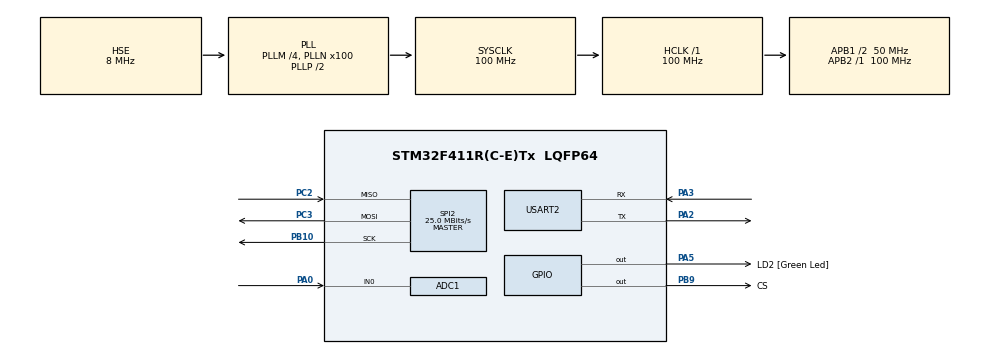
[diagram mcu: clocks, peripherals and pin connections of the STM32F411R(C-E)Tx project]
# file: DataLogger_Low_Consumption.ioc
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ADC1.Channel-0\#ChannelRegularConversion=ADC_CHANNEL_0
ADC1.NbrOfConversionFlag=1
ADC1.Rank-0\#ChannelRegularConversion=1
ADC1.SamplingTime-0\#ChannelRegularConversion=ADC_SAMPLETIME_3CYCLES
ADC1.master=1
Dma.Request0=USART2_TX
Dma.Request1=SPI2_RX
Dma.Request2=SPI2_TX
Dma.SPI2_RX.1.Direction=DMA_PERIPH_TO_MEMORY
Dma.SPI2_RX.1.FIFOMode=DMA_FIFOMODE_DISABLE
Dma.SPI2_RX.1.Instance=DMA1_Stream3
Dma.SPI2_RX.1.MemDataAlignment=DMA_MDATAALIGN_BYTE
Dma.SPI2_RX.1.MemInc=DMA_MINC_ENABLE
Dma.SPI2_RX.1.Mode=DMA_NORMAL
Dma.SPI2_RX.1.PeriphDataAlignment=DMA_PDATAALIGN_BYTE
Dma.SPI2_RX.1.PeriphInc=DMA_PINC_DISABLE
Dma.SPI2_RX.1.Priority=DMA_PRIORITY_LOW
Dma.SPI2_TX.2.Direction=DMA_MEMORY_TO_PERIPH
Dma.SPI2_TX.2.FIFOMode=DMA_FIFOMODE_DISABLE
Dma.SPI2_TX.2.Instance=DMA1_Stream4
Dma.SPI2_TX.2.MemDataAlignment=DMA_MDATAALIGN_BYTE
Dma.SPI2_TX.2.MemInc=DMA_MINC_ENABLE
Dma.SPI2_TX.2.Mode=DMA_NORMAL
Dma.SPI2_TX.2.PeriphDataAlignment=DMA_PDATAALIGN_BYTE
Dma.SPI2_TX.2.PeriphInc=DMA_PINC_DISABLE
Dma.SPI2_TX.2.Priority=DMA_PRIORITY_LOW
Dma.USART2_TX.0.Direction=DMA_MEMORY_TO_PERIPH
Dma.USART2_TX.0.FIFOMode=DMA_FIFOMODE_DISABLE
Dma.USART2_TX.0.Instance=DMA1_Stream6
Dma.USART2_TX.0.MemDataAlignment=DMA_MDATAALIGN_BYTE
Dma.USART2_TX.0.MemInc=DMA_MINC_ENABLE
Dma.USART2_TX.0.Mode=DMA_NORMAL
Dma.USART2_TX.0.PeriphDataAlignment=DMA_PDATAALIGN_BYTE
Dma.USART2_TX.0.PeriphInc=DMA_PINC_DISABLE
Dma.USART2_TX.0.Priority=DMA_PRIORITY_LOW
FATFS._USE_LABEL=1
FATFS._USE_LFN=3
Mcu.Family=STM32F4
Mcu.Name=STM32F411R(C-E)Tx
Mcu.Package=LQFP64
NVIC.DMA1_Stream3_IRQn=true\:0\:0\:false\:false\:true\:false\:true\:true
NVIC.DMA1_Stream4_IRQn=true\:0\:0\:false\:false\:true\:false\:true\:true
NVIC.DMA1_Stream6_IRQn=true\:0\:0\:false\:false\:true\:false\:true\:true
NVIC.PriorityGroup=NVIC_PRIORITYGROUP_0
NVIC.RTC_WKUP_IRQn=true\:0\:0\:false\:false\:true\:true\:true\:true
NVIC.USART2_IRQn=true\:0\:0\:false\:false\:true\:true\:true\:true
PA0-WKUP.Signal=ADCx_IN0
PA2.Mode=Asynchronous
PA2.Signal=USART2_TX
PA3.Mode=Asynchronous
PA3.Signal=USART2_RX
PA5.GPIO_Label=LD2 [Green Led]
PA5.Signal=GPIO_Output
PB10.Mode=Full_Duplex_Master
PB10.Signal=SPI2_SCK
PB9.GPIO_Label=CS
PB9.GPIO_Speed=GPIO_SPEED_FREQ_HIGH
PB9.PinState=GPIO_PIN_SET
PB9.Signal=GPIO_Output
PC15-OSC32_OUT.Signal=RCC_OSC32_OUT
PC2.Mode=Full_Duplex_Master
PC2.Signal=SPI2_MISO
PC3.Mode=Full_Duplex_Master
PC3.Signal=SPI2_MOSI
PH0\ -\ OSC_IN.Mode=HSE-External-Oscillator
PH0\ -\ OSC_IN.Signal=RCC_OSC_IN
PH1\ -\ OSC_OUT.Mode=HSE-External-Oscillator
PH1\ -\ OSC_OUT.Signal=RCC_OSC_OUT
ProjectManager.HeapSize=0x200
ProjectManager.StackSize=0x400
ProjectManager.TargetToolchain=STM32CubeIDE
RCC.48MHZClocksFreq_Value=50000000
RCC.AHBFreq_Value=100000000
RCC.APB1CLKDivider=RCC_HCLK_DIV2
RCC.APB1Freq_Value=50000000
RCC.APB1TimFreq_Value=100000000
RCC.APB2Freq_Value=100000000
RCC.APB2TimFreq_Value=100000000
RCC.CortexFreq_Value=100000000
RCC.FLatency-AdvancedSettings=FLASH_LATENCY_3
RCC.HCLKFreq_Value=100000000
RCC.HSE_VALUE=8000000
RCC.HSI_VALUE=16000000
RCC.LSE_VALUE=32768
RCC.PLLM=4
RCC.PLLN=100
RCC.PLLSourceVirtual=RCC_PLLSOURCE_HSE
RCC.SYSCLKFreq_VALUE=100000000
RCC.SYSCLKSource=RCC_SYSCLKSOURCE_PLLCLK
RCC.VCOOutputFreq_Value=200000000
SH.ADCx_IN0.0=ADC1_IN0,IN0
SPI2.CalculateBaudRate=25.0 MBits/s
SPI2.Direction=SPI_DIRECTION_2LINES
SPI2.Mode=SPI_MODE_MASTER
SPI2.VirtualType=VM_MASTER
USART2.VirtualMode=VM_ASYNC
VP_FATFS_VS_Generic.Mode=User_defined
VP_RTC_VS_RTC_Activate.Mode=RTC_Enabled
VP_RTC_VS_RTC_WakeUp_intern.Mode=WakeUp
board=NUCLEO-F411RE

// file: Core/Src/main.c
/* USER CODE BEGIN Header */

/**

 ******************************************************************************

 * @file : main.c

 * @brief : Main program body

 ******************************************************************************

 * @attention

 *

 * Copyright (c) 2025 STMicroelectronics.

 * All rights reserved.

 *

 * This software is licensed under terms that can be found in the LICENSE file

 * in the root directory of this software component.

 * If no LICENSE file comes with this software, it is provided AS-IS.

 *

 ******************************************************************************

 */

/* USER CODE END Header */
#include "main.h"
#include "fatfs.h"

/* USER CODE BEGIN Includes */

#include <string.h>
#include "sd_functions.h"
#include "stdio.h"
#include "sd_benchmark.h"
#include "uart_logger.h"

/* USER CODE END Includes */

/* USER CODE BEGIN PM */
#define max_records 20
/* USER CODE END PM */

ADC_HandleTypeDef hadc1;

RTC_HandleTypeDef hrtc;

SPI_HandleTypeDef hspi2;
DMA_HandleTypeDef hdma_spi2_rx;
DMA_HandleTypeDef hdma_spi2_tx;

UART_HandleTypeDef huart2;
DMA_HandleTypeDef hdma_usart2_tx;

/* USER CODE BEGIN PV */
uint8_t bufr[80];
UINT br;
/* USER CODE END PV */

void SystemClock_Config(void);
static void MX_GPIO_Init(void);
static void MX_DMA_Init(void);
static void MX_RTC_Init(void);
static void MX_USART2_UART_Init(void);
static void MX_ADC1_Init(void);
static void MX_SPI2_Init(void);
/* USER CODE BEGIN PFP */

volatile uint8_t g_wakeup_flag = 1;
uint32_t ldr_value = 0;
static const char ldr_str[] = "VALUE OF LDR";

void HAL_RTCEx_WakeUpTimerEventCallback(RTC_HandleTypeDef *hrtc) {

	g_wakeup_flag = 1;

}

void HAL_UART_TxCpltCallback(UART_HandleTypeDef *huart) {

// Donner l'événement à notre module de log pour qu'il le traite

	uart_log_dma_tx_complete_callback(huart);

}

uint32_t get_ldr_value() {
	HAL_ADC_Start(&hadc1);
	HAL_ADC_PollForConversion(&hadc1, HAL_MAX_DELAY);
	ldr_value = HAL_ADC_GetValue(&hadc1);
	HAL_ADC_Stop(&hadc1);
	my_printf(ldr_str);
	HAL_GPIO_TogglePin(GPIOA, GPIO_PIN_5);
}

/* USER CODE END PFP */

int main(void)
{

  /* MCU Configuration--------------------------------------------------------*/

  /* Reset of all peripherals, Initializes the Flash interface and the Systick. */
  HAL_Init();

  /* Configure the system clock */
  SystemClock_Config();

  /* Initialize all configured peripherals */
  MX_GPIO_Init();
  MX_DMA_Init();
  MX_RTC_Init();
  MX_USART2_UART_Init();
  MX_ADC1_Init();
  MX_SPI2_Init();
  MX_FATFS_Init();

  /* Infinite loop */
  while (1)
  {

    /* USER CODE BEGIN 3 */

		if (g_wakeup_flag == 1) {

			g_wakeup_flag = 0;
			get_ldr_value();
			my_printf("Tasks complete. Going back to STOP mode.\r\n");

		}

		HAL_SuspendTick();

		__HAL_PWR_CLEAR_FLAG(PWR_FLAG_WU);
		__HAL_RTC_WAKEUPTIMER_CLEAR_FLAG(&hrtc, RTC_FLAG_WUTF);

		HAL_PWR_EnterSTOPMode(PWR_LOWPOWERREGULATOR_ON, PWR_STOPENTRY_WFI);

		SystemClock_Config();

		HAL_ResumeTick();

	}

  /* USER CODE END 3 */
}

void SystemClock_Config(void)
{
  RCC_OscInitTypeDef RCC_OscInitStruct = {0};
  RCC_ClkInitTypeDef RCC_ClkInitStruct = {0};

  /** Configure the main internal regulator output voltage
  */
  __HAL_RCC_PWR_CLK_ENABLE();
  __HAL_PWR_VOLTAGESCALING_CONFIG(PWR_REGULATOR_VOLTAGE_SCALE1);

  /** Initializes the RCC Oscillators according to the specified parameters
  * in the RCC_OscInitTypeDef structure.
  */
  RCC_OscInitStruct.OscillatorType = RCC_OSCILLATORTYPE_LSI|RCC_OSCILLATORTYPE_HSE;
  RCC_OscInitStruct.HSEState = RCC_HSE_ON;
  RCC_OscInitStruct.LSIState = RCC_LSI_ON;
  RCC_OscInitStruct.PLL.PLLState = RCC_PLL_ON;
  RCC_OscInitStruct.PLL.PLLSource = RCC_PLLSOURCE_HSE;
  RCC_OscInitStruct.PLL.PLLM = 4;
  RCC_OscInitStruct.PLL.PLLN = 100;
  RCC_OscInitStruct.PLL.PLLP = RCC_PLLP_DIV2;
  RCC_OscInitStruct.PLL.PLLQ = 4;
  if (HAL_RCC_OscConfig(&RCC_OscInitStruct) != HAL_OK)
  {
    Error_Handler();
  }

  /** Initializes the CPU, AHB and APB buses clocks
  */
  RCC_ClkInitStruct.ClockType = RCC_CLOCKTYPE_HCLK|RCC_CLOCKTYPE_SYSCLK
                              |RCC_CLOCKTYPE_PCLK1|RCC_CLOCKTYPE_PCLK2;
  RCC_ClkInitStruct.SYSCLKSource = RCC_SYSCLKSOURCE_PLLCLK;
  RCC_ClkInitStruct.AHBCLKDivider = RCC_SYSCLK_DIV1;
  RCC_ClkInitStruct.APB1CLKDivider = RCC_HCLK_DIV2;
  RCC_ClkInitStruct.APB2CLKDivider = RCC_HCLK_DIV1;

  if (HAL_RCC_ClockConfig(&RCC_ClkInitStruct, FLASH_LATENCY_3) != HAL_OK)
  {
    Error_Handler();
  }
}

static void MX_ADC1_Init(void)
{

  ADC_ChannelConfTypeDef sConfig = {0};

  /** Configure the global features of the ADC (Clock, Resolution, Data Alignment and number of conversion)
  */
  hadc1.Instance = ADC1;
  hadc1.Init.ClockPrescaler = ADC_CLOCK_SYNC_PCLK_DIV4;
  hadc1.Init.Resolution = ADC_RESOLUTION_12B;
  hadc1.Init.ScanConvMode = DISABLE;
  hadc1.Init.ContinuousConvMode = DISABLE;
  hadc1.Init.DiscontinuousConvMode = DISABLE;
  hadc1.Init.ExternalTrigConvEdge = ADC_EXTERNALTRIGCONVEDGE_NONE;
  hadc1.Init.ExternalTrigConv = ADC_SOFTWARE_START;
  hadc1.Init.DataAlign = ADC_DATAALIGN_RIGHT;
  hadc1.Init.NbrOfConversion = 1;
  hadc1.Init.DMAContinuousRequests = DISABLE;
  hadc1.Init.EOCSelection = ADC_EOC_SINGLE_CONV;
  if (HAL_ADC_Init(&hadc1) != HAL_OK)
  {
    Error_Handler();
  }

  /** Configure for the selected ADC regular channel its corresponding rank in the sequencer and its sample time.
  */
  sConfig.Channel = ADC_CHANNEL_0;
  sConfig.Rank = 1;
  sConfig.SamplingTime = ADC_SAMPLETIME_3CYCLES;
  if (HAL_ADC_ConfigChannel(&hadc1, &sConfig) != HAL_OK)
  {
    Error_Handler();
  }

}

static void MX_RTC_Init(void)
{

  RTC_TimeTypeDef sTime = {0};
  RTC_DateTypeDef sDate = {0};

  /** Initialize RTC Only
  */
  hrtc.Instance = RTC;
  hrtc.Init.HourFormat = RTC_HOURFORMAT_24;
  hrtc.Init.AsynchPrediv = 127;
  hrtc.Init.SynchPrediv = 255;
  hrtc.Init.OutPut = RTC_OUTPUT_DISABLE;
  hrtc.Init.OutPutPolarity = RTC_OUTPUT_POLARITY_HIGH;
  hrtc.Init.OutPutType = RTC_OUTPUT_TYPE_OPENDRAIN;
  if (HAL_RTC_Init(&hrtc) != HAL_OK)
  {
    Error_Handler();
  }

  /** Initialize RTC and set the Time and Date
  */
  sTime.Hours = 0x0;
  sTime.Minutes = 0x0;
  sTime.Seconds = 0x0;
  sTime.DayLightSaving = RTC_DAYLIGHTSAVING_NONE;
  sTime.StoreOperation = RTC_STOREOPERATION_RESET;
  if (HAL_RTC_SetTime(&hrtc, &sTime, RTC_FORMAT_BCD) != HAL_OK)
  {
    Error_Handler();
  }
  sDate.WeekDay = RTC_WEEKDAY_MONDAY;
  sDate.Month = RTC_MONTH_JANUARY;
  sDate.Date = 0x1;
  sDate.Year = 0x0;

  if (HAL_RTC_SetDate(&hrtc, &sDate, RTC_FORMAT_BCD) != HAL_OK)
  {
    Error_Handler();
  }

  /** Enable the WakeUp
  */
  if (HAL_RTCEx_SetWakeUpTimer_IT(&hrtc, 0, RTC_WAKEUPCLOCK_RTCCLK_DIV16) != HAL_OK)
  {
    Error_Handler();
  }

}

static void MX_SPI2_Init(void)
{

  /* SPI2 parameter configuration*/
  hspi2.Instance = SPI2;
  hspi2.Init.Mode = SPI_MODE_MASTER;
  hspi2.Init.Direction = SPI_DIRECTION_2LINES;
  hspi2.Init.DataSize = SPI_DATASIZE_8BIT;
  hspi2.Init.CLKPolarity = SPI_POLARITY_LOW;
  hspi2.Init.CLKPhase = SPI_PHASE_1EDGE;
  hspi2.Init.NSS = SPI_NSS_SOFT;
  hspi2.Init.BaudRatePrescaler = SPI_BAUDRATEPRESCALER_2;
  hspi2.Init.FirstBit = SPI_FIRSTBIT_MSB;
  hspi2.Init.TIMode = SPI_TIMODE_DISABLE;
  hspi2.Init.CRCCalculation = SPI_CRCCALCULATION_DISABLE;
  hspi2.Init.CRCPolynomial = 10;
  if (HAL_SPI_Init(&hspi2) != HAL_OK)
  {
    Error_Handler();
  }

}

static void MX_USART2_UART_Init(void)
{

  huart2.Instance = USART2;
  huart2.Init.BaudRate = 115200;
  huart2.Init.WordLength = UART_WORDLENGTH_8B;
  huart2.Init.StopBits = UART_STOPBITS_1;
  huart2.Init.Parity = UART_PARITY_NONE;
  huart2.Init.Mode = UART_MODE_TX_RX;
  huart2.Init.HwFlowCtl = UART_HWCONTROL_NONE;
  huart2.Init.OverSampling = UART_OVERSAMPLING_16;
  if (HAL_UART_Init(&huart2) != HAL_OK)
  {
    Error_Handler();
  }
  /* USER CODE BEGIN USART2_Init 2 */

	huart2.hdmatx = &hdma_usart2_tx;

	hdma_usart2_tx.Parent = &huart2;

  /* USER CODE END USART2_Init 2 */

}

static void MX_DMA_Init(void)
{

  /* DMA controller clock enable */
  __HAL_RCC_DMA1_CLK_ENABLE();

  /* DMA interrupt init */
  /* DMA1_Stream3_IRQn interrupt configuration */
  HAL_NVIC_SetPriority(DMA1_Stream3_IRQn, 0, 0);
  HAL_NVIC_EnableIRQ(DMA1_Stream3_IRQn);
  /* DMA1_Stream4_IRQn interrupt configuration */
  HAL_NVIC_SetPriority(DMA1_Stream4_IRQn, 0, 0);
  HAL_NVIC_EnableIRQ(DMA1_Stream4_IRQn);
  /* DMA1_Stream6_IRQn interrupt configuration */
  HAL_NVIC_SetPriority(DMA1_Stream6_IRQn, 0, 0);
  HAL_NVIC_EnableIRQ(DMA1_Stream6_IRQn);

}

static void MX_GPIO_Init(void)
{
  GPIO_InitTypeDef GPIO_InitStruct = {0};

  /* GPIO Ports Clock Enable */
  __HAL_RCC_GPIOC_CLK_ENABLE();
  __HAL_RCC_GPIOH_CLK_ENABLE();
  __HAL_RCC_GPIOA_CLK_ENABLE();
  __HAL_RCC_GPIOB_CLK_ENABLE();

  /*Configure GPIO pin Output Level */
  HAL_GPIO_WritePin(LD2_GPIO_Port, LD2_Pin, GPIO_PIN_RESET);

  /*Configure GPIO pin Output Level */
  HAL_GPIO_WritePin(CS_GPIO_Port, CS_Pin, GPIO_PIN_SET);

  /*Configure GPIO pin : LD2_Pin */
  GPIO_InitStruct.Pin = LD2_Pin;
  GPIO_InitStruct.Mode = GPIO_MODE_OUTPUT_PP;
  GPIO_InitStruct.Pull = GPIO_NOPULL;
  GPIO_InitStruct.Speed = GPIO_SPEED_FREQ_LOW;
  HAL_GPIO_Init(LD2_GPIO_Port, &GPIO_InitStruct);

  /*Configure GPIO pin : CS_Pin */
  GPIO_InitStruct.Pin = CS_Pin;
  GPIO_InitStruct.Mode = GPIO_MODE_OUTPUT_PP;
  GPIO_InitStruct.Pull = GPIO_NOPULL;
  GPIO_InitStruct.Speed = GPIO_SPEED_FREQ_HIGH;
  HAL_GPIO_Init(CS_GPIO_Port, &GPIO_InitStruct);

}

void Error_Handler(void)
{
	__disable_irq();
	while (1) {
	}
}
